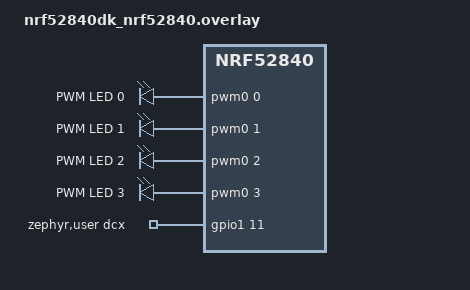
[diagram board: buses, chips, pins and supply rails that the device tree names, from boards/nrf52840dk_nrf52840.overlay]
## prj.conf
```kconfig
# Copyright (c) 2021 Nordic Semiconductor ASA
# SPDX-License-Identifier: Apache-2.0
#
# This file contains selected Kconfig options for the application.

CONFIG_GPIO=y
CONFIG_PWM=y
CONFIG_SMF=y


CONFIG_DISPLAY=y
CONFIG_LVGL=y
CONFIG_LV_Z_MEM_POOL_SIZE=16384
CONFIG_MAIN_STACK_SIZE=4096
```

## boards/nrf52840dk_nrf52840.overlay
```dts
/ {
    pwmleds {
        compatible = "pwm-leds";
        pwm_led0: pwm_led_0 {
            pwms = <&pwm0 0 PWM_MSEC(20) PWM_POLARITY_NORMAL>;
            label = "PWM LED 0";
        };
        pwm_led1: pwm_led_1 {
            pwms = <&pwm0 1 PWM_MSEC(20) PWM_POLARITY_NORMAL>;
            label = "PWM LED 1";
        };
        pwm_led2: pwm_led_2 {
            pwms = <&pwm0 2 PWM_MSEC(20) PWM_POLARITY_NORMAL>;
            label = "PWM LED 2";
        };
        pwm_led3: pwm_led_3 {
            pwms = <&pwm0 3 PWM_MSEC(20) PWM_POLARITY_NORMAL>;
            label = "PWM LED 3";
        };
    };

    zephyr,user {
        dcx_gpios = <&gpio1 11 GPIO_ACTIVE_HIGH>;
    };

    arduino_spi {
        cs-gpios = <&gpio1 12 GPIO_ACTIVE_LOW>;
    };

    aliases {
        pwm-led0 = &pwm_led0;
        pwm-led1 = &pwm_led1;
        pwm-led2 = &pwm_led2;
        pwm-led3 = &pwm_led3;

    };
};

&pinctrl { 
    pwm0_default: pwm0_default {
		group1 {
			psels = 
                <NRF_PSEL(PWM_OUT0, 0, 13)>, 
                <NRF_PSEL(PWM_OUT1, 0, 14)>, 
                <NRF_PSEL(PWM_OUT2, 0, 15)>, 
                <NRF_PSEL(PWM_OUT3, 0, 16)>;
			nordic,invert;
		};
	};

    pwm0_sleep: pwm0_sleep {
		group1 {
			psels = 
                <NRF_PSEL(PWM_OUT0, 0, 13)>, 
                <NRF_PSEL(PWM_OUT1, 0, 14)>, 
                <NRF_PSEL(PWM_OUT2, 0, 15)>, 
                <NRF_PSEL(PWM_OUT3, 0, 16)>;
			low-power-enable;
		};
	};
};
```

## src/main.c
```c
/**
 * @file main.c
 */

#include <inttypes.h>

#include <stdio.h>
#include <zephyr/kernel.h>
#include <zephyr/sys/printk.h>
#include <zephyr/drivers/display.h>
#include <zephyr/device.h>

#include "BTN.h"
#include "LED.h"
#include "core/lv_obj_event.h"
#include "core/lv_obj_pos.h"
#include "display/lv_display.h"
#include "lv_data_obj.h"
#include "misc/lv_area.h"
#include "misc/lv_color.h"
#include "misc/lv_event.h"
#include "misc/lv_timer.h"
#include "widgets/button/lv_button.h"
#include "widgets/label/lv_label.h"
#include "core/lv_obj_style_gen.h"

#define SLEEP_MS 1


static const struct device *display_dev = DEVICE_DT_GET(DT_CHOSEN(zephyr_display));
static lv_obj_t *screen = NULL;

void lv_button_callback(lv_event_t *event) {
  lv_obj_t *data_obj = (lv_obj_t *)lv_event_get_user_data(event);
  led_id led = *(led_id *)lv_data_obj_get_data_ptr(data_obj);

  LED_toggle(led);
}


int main(void) {
  /*
  * Init
  */
  if (0 > BTN_init()) {
    return 0;
  }
  if (0 > LED_init()) {
    return 0;
  }
  if(!device_is_ready(display_dev)) {
    return 0;
  }
  screen = lv_screen_active();
  if(screen == NULL) {
    return 0;
  }

  /*
  * Setup
  */
  // Text
  lv_obj_t *label = lv_label_create(screen);
  lv_label_set_text(label, "Cheese wheel");
  lv_obj_set_style_text_color(screen, lv_color_hex(0x0000ff), LV_PART_MAIN);
 
  // Buttons
  for(uint8_t i = 0; i < NUM_LEDS; i++) {
    lv_obj_t *ui_btn = lv_button_create(screen);
    lv_obj_align(ui_btn,LV_ALIGN_CENTER, 50 * (i % 2 ? 1 : -1), 20 * (i < 2 ? -1 : 1));
    lv_obj_t *button_label = lv_label_create(ui_btn);
    char label_text[10];
    snprintf(label_text, 10, "LED %d", i);
    lv_label_set_text(button_label, label_text);
    lv_obj_align(button_label, LV_ALIGN_CENTER, 0, 0);

    // Event callback
    led_id led = (led_id)i;
    lv_obj_t *data_obj = lv_data_obj_create_alloc_assign(ui_btn, &led, sizeof(led));
    lv_obj_add_event_cb(ui_btn, lv_button_callback, LV_EVENT_CLICKED, data_obj);
  }

  


  /*
  * Main
  */
  display_blanking_off(display_dev);
  while (1) {
    lv_timer_handler();
    k_msleep(SLEEP_MS);
  }
  return 0;
}
```

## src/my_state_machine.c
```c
#include <zephyr/smf.h>

#include "my_state_machine.h"
#include "LED.h"


static void led_on_state_entry(void *o);
static enum smf_state_result led_on_state_run(void *o);
static void led_off_state_entry(void *o);
static enum smf_state_result led_off_state_run(void *o);


enum led_state_machine_states {
  LED_ON_STATE,
  LED_OFF_STATE
};


typedef struct {
  struct smf_ctx ctx;
  uint16_t count;
} led_state_object_t;


static const struct smf_state led_states[] = {
  [LED_ON_STATE] = SMF_CREATE_STATE(led_on_state_entry, led_on_state_run, NULL, NULL, NULL),
  [LED_OFF_STATE] = SMF_CREATE_STATE(led_off_state_entry, led_off_state_run, NULL, NULL, NULL)
};

static led_state_object_t led_state_object;



void state_machine_init() {
  led_state_object.count = 0;
  smf_set_initial(SMF_CTX(&led_state_object), &led_states[LED_ON_STATE]);
}

int state_machine_run() {
  return smf_run_state(SMF_CTX(&led_state_object));
}



static void led_on_state_entry(void *o) {
  LED_set(LED0, LED_ON);
}

static enum smf_state_result led_on_state_run(void *o) {
  if(led_state_object.count > 500) {
    led_state_object.count = 0;
    smf_set_state(SMF_CTX(&led_state_object), &led_states[LED_OFF_STATE]);
  }
  else {
    led_state_object.count++;
  }

  return SMF_EVENT_HANDLED;
}

static void led_off_state_entry(void *o) {
  LED_set(LED0, LED_OFF);
}

static enum smf_state_result led_off_state_run(void *o) {
  if(led_state_object.count > 500) {
    led_state_object.count = 0;
    smf_set_state(SMF_CTX(&led_state_object), &led_states[LED_ON_STATE]);
  }
  else {
    led_state_object.count++;
  }

  return SMF_EVENT_HANDLED;
}
```

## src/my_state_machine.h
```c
#ifndef MY_STATE_MACHINE_H
#define MY_STATE_MACHINE_H

void state_machine_init();

int state_machine_run();

#endif
```
